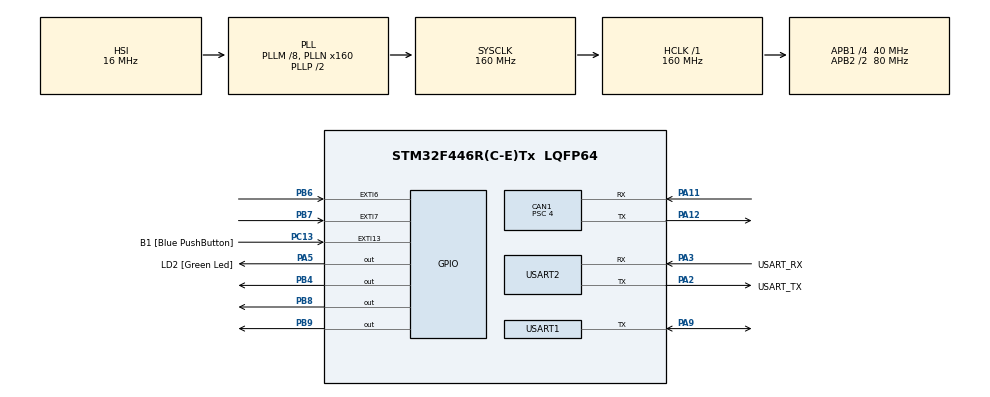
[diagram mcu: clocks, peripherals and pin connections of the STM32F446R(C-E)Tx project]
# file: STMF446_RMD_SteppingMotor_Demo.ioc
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CAN1.BS1=CAN_BS1_2TQ
CAN1.BS2=CAN_BS2_7TQ
CAN1.CalculateBaudRate=1000000
CAN1.CalculateTimeBit=1000
CAN1.CalculateTimeQuantum=100.0
CAN1.Prescaler=4
CAN1.SJW=CAN_SJW_2TQ
Mcu.Family=STM32F4
Mcu.Name=STM32F446R(C-E)Tx
Mcu.Package=LQFP64
NVIC.CAN1_RX0_IRQn=true\:0\:0\:true\:false\:true\:true\:true\:true
NVIC.CAN1_TX_IRQn=true\:0\:0\:true\:false\:true\:true\:true\:true
NVIC.EXTI15_10_IRQn=true\:1\:0\:true\:false\:true\:true\:true\:true
NVIC.EXTI9_5_IRQn=true\:1\:0\:true\:false\:true\:true\:true\:true
NVIC.PriorityGroup=NVIC_PRIORITYGROUP_4
NVIC.TIM3_IRQn=true\:2\:0\:true\:false\:true\:true\:true\:true
NVIC.USART2_IRQn=true\:0\:0\:true\:false\:true\:true\:true\:true
PA11.GPIO_Speed=GPIO_SPEED_FREQ_VERY_HIGH
PA11.Mode=CAN_Activate
PA11.Signal=CAN1_RX
PA12.GPIO_PuPd=GPIO_PULLUP
PA12.GPIO_Speed=GPIO_SPEED_FREQ_VERY_HIGH
PA12.Mode=CAN_Activate
PA12.Signal=CAN1_TX
PA13.GPIO_Label=TMS
PA13.Mode=Serial_Wire
PA13.Signal=SYS_JTMS-SWDIO
PA14.GPIO_Label=TCK
PA14.Mode=Serial_Wire
PA14.Signal=SYS_JTCK-SWCLK
PA2.GPIO_Label=USART_TX
PA2.Mode=Asynchronous
PA2.Signal=USART2_TX
PA3.GPIO_Label=USART_RX
PA3.Mode=Asynchronous
PA3.Signal=USART2_RX
PA5.GPIO_Label=LD2 [Green Led]
PA5.Signal=GPIO_Output
PA9.GPIO_Speed=GPIO_SPEED_FREQ_HIGH
PA9.Mode=Half_duplex(single_wire_mode)
PA9.Signal=USART1_TX
PB3.GPIO_Label=SWO
PB3.Signal=SYS_JTDO-SWO
PB4.Signal=GPIO_Output
PB6.GPIO_ModeDefaultEXTI=GPIO_MODE_IT_RISING_FALLING
PB6.Signal=GPXTI6
PB7.GPIO_ModeDefaultEXTI=GPIO_MODE_IT_RISING_FALLING
PB7.Signal=GPXTI7
PB8.GPIO_Speed=GPIO_SPEED_FREQ_VERY_HIGH
PB8.Signal=GPIO_Output
PB9.GPIO_Speed=GPIO_SPEED_FREQ_VERY_HIGH
PB9.Signal=GPIO_Output
PC13.GPIO_Label=B1 [Blue PushButton]
PC13.GPIO_ModeDefaultEXTI=GPIO_MODE_IT_FALLING
PC13.Signal=GPXTI13
PC14-OSC32_IN.Mode=LSE-External-Oscillator
PC14-OSC32_IN.Signal=RCC_OSC32_IN
PC15-OSC32_OUT.Mode=LSE-External-Oscillator
PC15-OSC32_OUT.Signal=RCC_OSC32_OUT
PH0-OSC_IN.Mode=HSE-External-Oscillator
PH0-OSC_IN.Signal=RCC_OSC_IN
PH1-OSC_OUT.Mode=HSE-External-Oscillator
PH1-OSC_OUT.Signal=RCC_OSC_OUT
ProjectManager.HeapSize=0x200
ProjectManager.StackSize=0x400
ProjectManager.TargetToolchain=STM32CubeIDE
RCC.48MHZClocksFreq_Value=84000000
RCC.AHBFreq_Value=160000000
RCC.APB1CLKDivider=RCC_HCLK_DIV4
RCC.APB1Freq_Value=40000000
RCC.APB1TimFreq_Value=80000000
RCC.APB2CLKDivider=RCC_HCLK_DIV2
RCC.APB2Freq_Value=80000000
RCC.APB2TimFreq_Value=160000000
RCC.CortexFreq_Value=160000000
RCC.FLatency-AdvancedSettings=FLASH_LATENCY_5
RCC.HCLKFreq_Value=160000000
RCC.HSE_VALUE=8000000
RCC.HSI_VALUE=16000000
RCC.PLLM=8
RCC.PLLN=160
RCC.SYSCLKFreq_VALUE=160000000
RCC.SYSCLKSource=RCC_SYSCLKSOURCE_PLLCLK
RCC.USBFreq_Value=160000000
RCC.VCOOutputFreq_Value=320000000
TIM3.Channel-Output\ Compare1\ No\ Output=TIM_CHANNEL_1
TIM3.Prescaler=160-1
USART1.BaudRate=500000
USART1.VirtualMode=VM_ASYNC
USART2.VirtualMode=VM_ASYNC
VP_TIM3_VS_ClockSourceINT.Mode=Internal
VP_TIM3_VS_no_output1.Mode=Output Compare1 No Output
board=NUCLEO-F446RE

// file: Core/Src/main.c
/* USER CODE BEGIN Header */
/**
  ******************************************************************************
  * @file           : main.c
  * @brief          : Main program body
  ******************************************************************************
  * @attention
  *
  * Copyright (c) 2022 STMicroelectronics.
  * All rights reserved.
  *
  * This software is licensed under terms that can be found in the LICENSE file
  * in the root directory of this software component.
  * If no LICENSE file comes with this software, it is provided AS-IS.
  *
  ******************************************************************************
  */
/* USER CODE END Header */
#include "main.h"

/* USER CODE BEGIN Includes */
#include<stdio.h>
#include "tmc/ic/TMC2209/TMC2209.h"
#include <math.h>
/* USER CODE END Includes */

/* USER CODE BEGIN PTD */
typedef struct {
	float acceleration;
	volatile unsigned int minStepInterval;
	void (*dirFunc)(int);
	void (*stepFunc)();

	uint8_t homing;
	unsigned int c0;
	volatile int stepPosition;

	volatile int dir; // 1 or -1
	volatile int dir_inv; //set 1 to reverse the dir

	volatile int pull_off; //set pull_off distance
	volatile int stall_off;

	volatile int seeking_vel;
	volatile int homing_vel;

	volatile unsigned int totalSteps;

	volatile char movementDone;
	volatile unsigned int rampUpStepCount;
	volatile unsigned int n; // index
	volatile float d; // current interval length
	volatile unsigned long di; // d -> unsigned  di
	volatile unsigned int stepCount;

}stepperInfo;   //stepperInfo型の構造体にメンバを格納

/* USER CODE END PTD */

/* USER CODE BEGIN PD */
#define TMC2209_CRC(data, length) tmc_CRC8(data, length, 1)

/* USER CODE END PD */

 CAN_HandleTypeDef hcan1;

TIM_HandleTypeDef htim3;

UART_HandleTypeDef huart1;
UART_HandleTypeDef huart2;

/* USER CODE BEGIN PV */
//SteppingMotorの設定
TMC2209TypeDef TMC2209; //TMC2209の設定などの定義
ConfigurationTypeDef TMC2209_config; //TMC2209の設定
volatile stepperInfo steppers[1];    //stepperInfo型の配列stepperにNUM_STEPPERSで定義した値を代入
uint8_t end_stop_state = 0;
uint8_t homing_flag = 0;
uint8_t current_stall = 0;
//RMDの設定
CAN_FilterTypeDef sFilterConfig;
CAN_TxHeaderTypeDef TxHeader;
CAN_RxHeaderTypeDef RxHeader;
uint8_t TxData[8];
uint8_t RxData[8];
uint32_t TxMailbox;
uint8_t cmd_data = 0x00;
uint8_t UART1_Data[8];
uint8_t get_uart_flag = 0;
uint8_t end_flag = 0; //canを受信したかどうかのflag
uint8_t nextcan_flag = 0;
int Writecom=0x00;
int Readcom=0x00;
char RMD_cmd;

/* USER CODE END PV */

void SystemClock_Config(void);
static void MX_GPIO_Init(void);
static void MX_USART2_UART_Init(void);
static void MX_CAN1_Init(void);
static void MX_TIM3_Init(void);
static void MX_USART1_UART_Init(void);
/* USER CODE BEGIN PFP */
static uint8_t reset(void);
static uint8_t restore(void);
/* USER CODE END PFP */

/* USER CODE BEGIN 0 */
void tmc2209_readWriteArray(uint8_t channel, uint8_t *data, size_t writeLength, size_t readLength)
{
	//set your uart read write
	//UART_readWrite(channelToUART(channel), data, writeLength, readLength);
	HAL_HalfDuplex_EnableTransmitter(&huart1);
	HAL_UART_Transmit(&huart1, data, writeLength,3000);

	if(readLength > 0){
		HAL_HalfDuplex_EnableReceiver(&huart1);
		HAL_UART_Receive(&huart1, data, readLength, 3000);
	}
}

uint8_t tmc2209_CRC8(uint8_t *data, size_t length)
{
	return TMC2209_CRC(data, length);
}
uint8_t uart_data;
char tx_data[]="get_data\r\n";
int flag = 1;

static uint8_t reset()
{
	//StepDir_init(STEPDIR_PRECISION);
	//StepDir_setPins(0, Pins.STEP, Pins.DIR, Pins.DIAG);

	return tmc2209_reset(&TMC2209);
}

static uint8_t restore()
{
	return tmc2209_restore(&TMC2209);
}

void TMC2209_INIT()
{
	tmc_fillCRC8Table(0x07, true, 1);

	TMC2209_config.reset = reset;
	TMC2209_config.restore = restore;
	tmc2209_init(&TMC2209, 0, 0, &TMC2209_config, &tmc2209_defaultRegisterResetState[0]);

	//restore();
}

static inline TMC2209TypeDef *motorToIC(uint8_t motor)
{
	UNUSED(motor);

	return &TMC2209;
}

void HAL_GPIO_EXTI_Callback(uint16_t GPIO_Pin)
{
	//stepper 0 end stop senssor
	if(GPIO_Pin == GPIO_PIN_6 ){
		if(!HAL_GPIO_ReadPin(GPIOB, GPIO_PIN_6)){
			end_stop_state |= 1;
		}
		if(HAL_GPIO_ReadPin(GPIOB, GPIO_PIN_6)){
			end_stop_state &= ~1;
		}
	}
	if(GPIO_Pin == GPIO_PIN_7 ){
		if(!HAL_GPIO_ReadPin(GPIOB, GPIO_PIN_7)){
			current_stall|= 0;
		}
		if(HAL_GPIO_ReadPin(GPIOB, GPIO_PIN_7)){
			current_stall = 1;
		}
	}
}
void Step0(){                                       //step pin
	//pull+

	HAL_GPIO_WritePin(GPIOB, GPIO_PIN_9, GPIO_PIN_RESET);
	HAL_GPIO_WritePin(GPIOB, GPIO_PIN_9, GPIO_PIN_SET);
	/*
	 * pull-
	 * HAL_GPIO_WritePin(GPIOB, GPIO_PIN_5, GPIO_PIN_SET);
	 * HAL_GPIO_WritePin(GPIOB, GPIO_PIN_5, GPIO_PIN_RESET);
	 */
}

void Dir0(int dir){
	HAL_GPIO_WritePin(GPIOB, GPIO_PIN_8, dir); //Dir0関数にdirピンを指定して格納
}

void resetStepperInfo(stepperInfo* si){    //resetStepperInfo関数に引数をstepperInfo構造隊にポイント型変数siとして与える
	si->n = 0;  //変数*siがメンバnにアクセス.した値に0を代入する
	si->d = 0;
	si->di = 0;
	si->stepCount = 0;
	si->rampUpStepCount = 0;
	si->totalSteps = 0;
	si->stepPosition = 0;
	si->movementDone = 0;
}

void resetStepper(volatile stepperInfo* si){    //resetStepper関数に引数をstepperInfo構造隊にポイント型変数siとして与える
	si->c0 = si->acceleration;      //変数*siがメンバc0にアクセス.した値に変数*siがメンバaccelerationにアクセス.した値を代入する
	si->d = si->c0;
	si->di = si->d;
	si->stepCount = 0;
	si->n = 0;
	si->rampUpStepCount = 0;
	si->movementDone = 0;
}

volatile uint8_t remainingSteppersFlag = 0; //remainingSteppersFlagをuint8_t型で定義し、初期化

void prepareMovement(int steps){
	if(steps == 0){
		return;
	}
	volatile stepperInfo* si = &steppers[0];
	if(si->dir_inv){
		si->dirFunc( steps < 0 ? 0 : 1);
		si->dir = steps > 0 ? -1:1;
	}else{
		si->dirFunc( steps < 0 ? 1 : 0);
		si->dir = steps > 0 ? 1:-1;
	}
		si->totalSteps = abs(steps);
		resetStepper(si);
		remainingSteppersFlag |= (1 << 0);

}

void prepareAbsoluteMovement(int absolute_steps){   //prepareAbsoluteMovementで与えられたステップ数だけモータを回す(main文から）
	printf("absolute_steps:%d\r\n",absolute_steps);
	volatile stepperInfo* si = &steppers[0];	//steppers[0]のアドレスをstepperInfo* si に代入
	int steps = absolute_steps - si->stepPosition;	//目標値からstepPositionを引いた値（stepposition=毎ステップカウントされるdirの値)
	printf("steps:%d\r\n",steps);
	if(steps == 0){
					return;
				}
	si->dirFunc( steps < 0 ? 1 : 0);
	si->dir = steps > 0 ? 1:-1;
	//printf("prepareAbsoluteMovement\r\n");
	si->totalSteps = abs(steps);	//stepsの値をアブソリュートでtotalstepsに格納
	printf("steps:%d\r\n",si->totalSteps);

	resetStepper(si);
	printf("steps:%d\r\n",steps);
	remainingSteppersFlag |= (1 << 0);
}
volatile uint8_t nextStepperFlag = 0;

void setNextInterruptInterval(){

	unsigned int mind = 999999;

		if( ((1 << 0)& remainingSteppersFlag) && steppers[0].di < mind ){
			mind = steppers[0].di;
		}
		nextStepperFlag = 0;

			if( (1 << 0) && steppers[0].di == mind ){
				nextStepperFlag |= (1 << 0);
			}

		__HAL_TIM_SET_COMPARE(&htim3, TIM_CHANNEL_1, mind);		//mindにコンペアを設定
			//printf("mind:%d \r\n",mind);

	if (remainingSteppersFlag == 0){
		__HAL_TIM_SET_COMPARE(&htim3, TIM_CHANNEL_1, 65500);    //65500→コンペアマッチさせない
	}

	__HAL_TIM_SET_COMPARE(&htim3, TIM_CHANNEL_1, mind);
	return;

}

void HAL_TIM_OC_DelayElapsedCallback(TIM_HandleTypeDef *htim){      //指定したコンペアを超えた時発火
	//HAL_TIM_OC_Stop_IT(&htim3, TIM_CHANNEL_1);
	if(htim == &htim3){
	unsigned int tmpCtr = __HAL_TIM_GET_COMPARE(&htim3, TIM_CHANNEL_1);	//指定されたタイマーチャンネルのコンペアを所得
	__HAL_TIM_SET_COMPARE(&htim3, TIM_CHANNEL_1, 65500);			//コンペアを65500にセット

	if( homing_flag & (1 << 0)){
				if(end_stop_state & (1 << 0)){
					remainingSteppersFlag &= ~(1 << 0);
				}
			}
	if ( ! (nextStepperFlag & (1 << 0)) ){				//nextStepperFlagが真でない(0なら)
			steppers[0].di -= tmpCtr;           //tmpCtrの値からsteppers[i].di引いた値を新しくsteppers[i].diに代入
		}
		//printf("steppers:%ld \r\n",steppers[0].di);

		volatile stepperInfo* s = &steppers[0];

		if( (s->stepCount) < (s->totalSteps)&& !(current_stall)  ){		//1周ごとにカウントしたstepCountがabs(steps)より小さかったら==動作が終了するまで
			s->stepFunc();
			s->stepCount++;							//カウントし続ける
			s->stepPosition += s->dir;		//dir(+もしくはー(dirの向き）を加算してstepPositionに格納
			if ( (s->stepCount) >= (s->totalSteps) ){	//stepCountがtotalStepsを超えたとき
				s->movementDone = 1;	//movementDoneを1にする
				remainingSteppersFlag &= ~(1 << 0);
			}
		}

		if (s->rampUpStepCount == 0){
			s->n++;									//sにnを代入して、nをプラス1する
			s->d = s->d - (2*s->d) / (4*s->n +1);	//加減速遅延時間
			if (s->d <= s->minStepInterval ){		//加減速遅延時間がminStepIntervalより短いなら（定数で指定）
				s->d = s->minStepInterval;			//minStepIntervalを加減速遅延時間にする
				s->rampUpStepCount = s->stepCount;	//rampUpStepCountはstepCountとする
			}
			if (s->stepCount >= (s->totalSteps / 2) ){  //目標値から現在のステップを引いた値の1/2よりstepCountが大きくなったとき
				s->rampUpStepCount = s->stepCount;		//rampUpStepCountはstepCountとする
			}
		} else if ( s->stepCount >= s->totalSteps - s->rampUpStepCount) {	//目標値から現在のステップを引いた値からrampUpStepCountを引いた値がstepCountより小さいなら
			s->d = (s->d * (4 * s->n + 1)) / (4 * s->n + 1 -2);				//減速の時のステップ
			s->n--;		//sにnを代入し、nから1を引く
		}
		s->di = s->d;	//計算結果sをstepperInfoのメンバdに代入したものをメンバdiに代入
		//printf("stepPosition:%ld \r\n",s->stepPosition);
		setNextInterruptInterval();
		__HAL_TIM_SET_COUNTER(&htim3, 0);
	}
}

void sensorStateInit(){							//割り込みリセット
	if( ! HAL_GPIO_ReadPin(GPIOA, GPIO_PIN_6)){	//割り込みピンが真でない(1でない=0なら)
		end_stop_state |= 1;					//end_stop_stateに左辺か右辺が1なら1を代入
	}
}

void stallguard_back(){
	prepareMovement(steppers[0].stall_off);	//stall_off
	current_stall=0;
	return;
}

void runAndWait(){
	setNextInterruptInterval();
	while(remainingSteppersFlag && !(current_stall));
	if(current_stall==1){
		stallguard_back();
	}
	HAL_Delay(100);
	end_flag=1;
	//printf("posi%d\r\n",re->totalSteps);
}
void AbsoluteReset(){
	volatile stepperInfo* re = &steppers[0];

	re->n = 0;  //変数*siがメンバnにアクセス.した値に0を代入する
	re->d = 0;
	re->di = 0;
	re->stepCount = 0;
	re->rampUpStepCount = 0;
	re->totalSteps = 0;
	re->stepPosition = 0;
	printf("RestOK\r\n");
	end_flag=1;
}

void stepperHoming(){
	homing_flag |= (1 << 0);
	//seeking
	steppers[0].minStepInterval = steppers[0].seeking_vel;	//ホームピンに反応するまでモータ回す
	prepareMovement( -100000000);
	runAndWait();
	HAL_Delay(500);
	//pull-off

	homing_flag &= ~(1 << 0);								//homing_flagが反応したらpull_offだけモータ回す
	prepareMovement(steppers[0].pull_off);
	runAndWait();
	HAL_Delay(500);
	//homing

	homing_flag |= (1 << 0);								//ホームピンに反応するまでモータ回す
	steppers[0].minStepInterval = steppers[0].homing_vel;
	prepareMovement( -100000000);
	runAndWait();
	HAL_Delay(500);
	//pull-off
	homing_flag &= ~(1 << 0);
	prepareMovement(steppers[0].pull_off);
	runAndWait();
	HAL_Delay(500);

	steppers[0].stepPosition = 0;
	steppers[0].homing = 1;
	steppers[0].minStepInterval = 500;
	printf("homing:\r\n");

}

void TMCsetup(){
	int32_t mstep_value = 0;
	int32_t toff_value = 0;
	int32_t microstep_value = 0;
	int32_t IRUN_value = 0;
	int32_t IHOLD_value = 0;
	int32_t IHOLDDELAY_value= 0;
	int32_t stallgard_setup_value=0;
	int32_t TCOOLTHRS_value=0;
	int32_t SEMIN_value=0;
	int32_t SEMAX_value=0;

	IRUN_value = 16;
	TMC2209_FIELD_UPDATE(&TMC2209, TMC2209_IHOLD_IRUN, TMC2209_IRUN_MASK, TMC2209_IRUN_SHIFT, IRUN_value);	//実行電流
	tmc2209_periodicJob(&TMC2209, HAL_GetTick());
	HAL_Delay(100);
	IHOLD_value=TMC2209_FIELD_READ(&TMC2209, TMC2209_IHOLD_IRUN, TMC2209_IRUN_MASK, TMC2209_IRUN_SHIFT);
	printf("IRUN: %ld\r\n", IRUN_value);

	IHOLD_value=3;																							//モーター待機時の電流の設定
	TMC2209_FIELD_UPDATE(&TMC2209,TMC2209_IHOLD_IRUN, TMC2209_IHOLD_MASK, TMC2209_IHOLD_SHIFT, IHOLD_value);
	tmc2209_periodicJob(&TMC2209, HAL_GetTick());
	HAL_Delay(100);
	IHOLD_value=TMC2209_FIELD_READ(&TMC2209, TMC2209_IHOLD_IRUN, TMC2209_IHOLD_MASK, TMC2209_IHOLD_SHIFT);	//保持電流
	printf("IHOLD: %ld\r\n", IHOLD_value);

	mstep_value = TMC2209_FIELD_READ(&TMC2209, TMC2209_GCONF, TMC2209_MSTEP_REG_SELECT_MASK,TMC2209_MSTEP_REG_SELECT_SHIFT);	//uartでのmicrostepの有効化
	printf("mstep_before : %ld\r\n", mstep_value);
	mstep_value = 1;
	TMC2209_FIELD_UPDATE(&TMC2209, TMC2209_GCONF, TMC2209_MSTEP_REG_SELECT_MASK, TMC2209_MSTEP_REG_SELECT_SHIFT,mstep_value);
	tmc2209_periodicJob(&TMC2209, HAL_GetTick());
	mstep_value=TMC2209_FIELD_READ(&TMC2209, TMC2209_GCONF, TMC2209_MSTEP_REG_SELECT_MASK, TMC2209_MSTEP_REG_SELECT_SHIFT);
	printf("mstep_after : %ld\r\n", mstep_value);

	toff_value=TMC2209_FIELD_READ(&TMC2209, TMC2209_CHOPCONF, TMC2209_TOFF_MASK, TMC2209_TOFF_SHIFT);	//保持トルクの設定
	printf("toff_before : %ld\r\n", toff_value);
	toff_value = 4;
	TMC2209_FIELD_UPDATE(&TMC2209, TMC2209_CHOPCONF, TMC2209_TOFF_MASK, TMC2209_TOFF_SHIFT,toff_value);
	tmc2209_periodicJob(&TMC2209, HAL_GetTick());
	toff_value=TMC2209_FIELD_READ(&TMC2209, TMC2209_CHOPCONF, TMC2209_TOFF_MASK, TMC2209_TOFF_SHIFT);
	printf("toff_after : %ld\r\n", toff_value);

	microstep_value = 256 >> TMC2209_FIELD_READ(&TMC2209, TMC2209_CHOPCONF, TMC2209_MRES_MASK, TMC2209_MRES_SHIFT);	//microstepの設定
	printf("microstep_before : %ld\r\n", microstep_value);
	microstep_value = 4;
	TMC2209_FIELD_UPDATE(&TMC2209, TMC2209_CHOPCONF, TMC2209_MRES_MASK, TMC2209_MRES_SHIFT,microstep_value);
	tmc2209_periodicJob(&TMC2209, HAL_GetTick());
	microstep_value = 256 >> TMC2209_FIELD_READ(&TMC2209, TMC2209_CHOPCONF, TMC2209_MRES_MASK, TMC2209_MRES_SHIFT);
	printf("microstep_after : %ld\r\n", microstep_value);

	IHOLDDELAY_value=4;
	TMC2209_FIELD_UPDATE(&TMC2209, TMC2209_IHOLD_IRUN, TMC2209_IHOLDDELAY_MASK, TMC2209_IHOLDDELAY_SHIFT, IHOLDDELAY_value);
	tmc2209_periodicJob(&TMC2209, HAL_GetTick());
	IHOLDDELAY_value=TMC2209_FIELD_READ(&TMC2209, TMC2209_IHOLD_IRUN, TMC2209_IHOLDDELAY_MASK, TMC2209_IHOLDDELAY_SHIFT);
	printf("IHOLDDELAY: %ld\r\n", IHOLDDELAY_value);

	stallgard_setup_value=20;											//SG_RESULTと比較して、
	tmc2209_writeInt(&TMC2209, TMC2209_SGTHRS, stallgard_setup_value);
	tmc2209_periodicJob(&TMC2209, HAL_GetTick());
	stallgard_setup_value = tmc2209_readInt(&TMC2209, TMC2209_SGTHRS);
	printf("SGTHRS: %ld\r\n", stallgard_setup_value);

	TCOOLTHRS_value=1000;

	tmc2209_writeInt(&TMC2209, TMC2209_TCOOLTHRS, TCOOLTHRS_value);
	tmc2209_periodicJob(&TMC2209, HAL_GetTick());
	printf("TCOOLTHRS: %ld\r\n", TCOOLTHRS_value);

	SEMIN_value=5;
	TMC2209_FIELD_UPDATE(&TMC2209, TMC2209_COOLCONF, TMC2209_SEIMIN_MASK, TMC2209_SEIMIN_SHIFT, SEMIN_value);
	tmc2209_periodicJob(&TMC2209, HAL_GetTick());
	printf("SEMIN: %ld\r\n", SEMIN_value);

	SEMAX_value = 2;
	TMC2209_FIELD_UPDATE(&TMC2209, TMC2209_COOLCONF, TMC2209_SEIMIN_MASK, TMC2209_SEIMIN_SHIFT, SEMIN_value);
	tmc2209_periodicJob(&TMC2209, HAL_GetTick());
	printf("SEMAX: %ld\r\n", SEMAX_value);

	end_flag=1;

}

void RMDCommand(){
//	int i = 0;
	int count=0;
	TxHeader.StdId=0x141;
	TxHeader.IDE = CAN_ID_STD;
	TxHeader.DLC = 0x08;
	TxHeader.RTR = CAN_RTR_DATA;
	TxHeader.TransmitGlobalTime = DISABLE;
	TxData[1] = 0x00;
	TxData[2] = 0x00;
	TxData[3] = 0x00;
	TxData[4] = 0x00;
	TxData[5] = 0x00;
	TxData[6] = 0x00;
	TxData[7] = 0x00;
	switch(Writecom){
		case 0x31:
			TxData[0] = 0x31;	//PI設定
			TxData[2] = UART1_Data[2];	//anglePidKp
			TxData[3] = UART1_Data[3];	//anglePidKi
			TxData[4] = UART1_Data[4];	//speedPidKp
			TxData[5] = UART1_Data[5];	//speedPidKi
			TxData[6] = UART1_Data[6];	//iqPidKp
			TxData[7] = UART1_Data[7];	//iqPidKi
		case 0x32:
			TxData[0] = 0x32;	//PI設定
			TxData[2] = UART1_Data[2];	//anglePidKp
			TxData[3] = UART1_Data[3];	//anglePidKi
			TxData[4] = UART1_Data[4];	//speedPidKp
			TxData[5] = UART1_Data[5];	//speedPidKi
			TxData[6] = UART1_Data[6];	//iqPidKp
			TxData[7] = UART1_Data[7];	//iqPidKi
			break;
		case 0x34:
			TxData[0] = 0x34;	//accelePI設定
			TxData[4] = UART1_Data[4];	//speedI
			TxData[5] = UART1_Data[5];	//TorqueP
			TxData[6] = UART1_Data[6];	//TorqueI
			TxData[7] = UART1_Data[7];	//PosI
			break;
		case 0xA1:
			TxData[0] = 0xA1;	//Torque設定
			TxData[4] = UART1_Data[4];	//currentlow
			TxData[5] = UART1_Data[5];	//currenthigh
			break;
		case 0xA4:
			TxData[0] = 0xA4;
			TxData[1] = 0x00;
			TxData[2] = 0x2C;	//speed low
			TxData[3] = 0x01;	//speed high
			TxData[4] = UART1_Data[4];	//poslow
			TxData[5] = UART1_Data[5];
			TxData[6] = 0x00;
			TxData[7] = 0x00;	//poshigh
			break;
		default:
			printf("No Data Writecom\r\n");
			end_flag=1;
			break;
		}
	Writecom=0x00;
	switch(Readcom){
		case 0x30:
			TxData[0] = 0x30;
			break;
		case 0x33:
			TxData[0] = 0x33;
			break;
		case 0x9C:
			TxData[0] = 0x9C;
			break;
		case 0xA1:
			TxData[0] = 0xA1;
		case 0x90:
			TxData[0] = 0x90;
			break;
		default:
			printf("No Data Readcom\r\n");
			end_flag=1;
			break;
	}
	Readcom=0x00;
	if(0 < HAL_CAN_GetTxMailboxesFreeLevel(&hcan1) ){
		HAL_CAN_AddTxMessage(&hcan1,&TxHeader,TxData,&TxMailbox);
		HAL_Delay(1);
//		printf("Can Send\r\n");
		while(!nextcan_flag){
//			printf("Mailboxes: %d\r\n",HAL_CAN_GetTxMailboxesFreeLevel(&hcan1));
			HAL_CAN_AddTxMessage(&hcan1,&TxHeader,TxData,&TxMailbox);
			HAL_Delay(1);
			count++;
			if(count==10){
				nextcan_flag=1;
				HAL_CAN_Stop (&hcan1);
				//HAL_CAN_AbortTxRequest(&hcan1,TxMailbox);
				HAL_CAN_Start(&hcan1);
				printf("CAN RESET\r\n");
			}
		}
		nextcan_flag=0;
		count=0;
	}else{
		printf("Mailbox_congestion\r\n");
		nextcan_flag=0;
		end_flag=1;
	}
}
void SetUpRMD(){
	UART1_Data[4] = 0x50;
	UART1_Data[5] = 0x46;
	Writecom = 0xA4;
	RMDCommand();
}
void RMDLeftTurn(){
	UART1_Data[4] = 0xE0;
	UART1_Data[5] = 0x2E;
	Writecom=0xA4;
	RMDCommand();
}
void RMDRightTurn(){
	UART1_Data[4] = 0xC0;
	UART1_Data[5] = 0x5D;
	Writecom=0xA4;
	RMDCommand();
}
void checkRMDdata(){
	int RxBitshift[4];
	RxBitshift[0]=0;
	RxBitshift[1]=0;
	RxBitshift[2]=0;
	RxBitshift[3]=0;
	Readcom=0x30;
	RMDCommand();
	printf("0x30\r\n");
	printf("Position loop Kp :%d \r\n",RxData[2]);
	printf("Position loop Ki :%d \r\n",RxData[3]);
	printf("Speed loop Kp :%d \r\n",RxData[4]);
	printf("Speed loop Ki :%d \r\n",RxData[5]);
	printf("Torque loop Kp :%d \r\n",RxData[6]);
	printf("Torque loop Ki :%d \r\n",RxData[7]);

	Readcom=0x33;
	RMDCommand();
	printf("0x33\r\n");
	printf("Position loop P:%d \r\n",RxData[2]);
	printf("Position loop I :%d \r\n",RxData[3]);
	printf("Speed loop P :%d \r\n",RxData[4]);
	printf("Speed loop I :%d \r\n",RxData[5]);
	printf("Torque loop P :%d \r\n",RxData[6]);
	printf("Torque loop I :%d \r\n",RxData[7]);

	Readcom=0x9C;
	RMDCommand();
	printf("0x9C\r\n");
	RxBitshift[0]=RxData[2] & 0xFF;
	RxBitshift[0]+=(RxData[3] & 0xFF) << 8;
	RxBitshift[1]=RxData[4] & 0xFF;
	RxBitshift[1]+=(RxData[5] & 0xFF) << 8;
	RxBitshift[2]=RxData[6] & 0xFF;
	RxBitshift[2]+=(RxData[7] & 0xFF) << 8;
	printf("Motor temperature:%d \r\n",RxData[1]);
	printf("Torque current :%d \r\n",RxBitshift[0]);
	printf("Speed :%d \r\n",RxBitshift[1]);
	printf("Encoder position:%d \r\n",RxBitshift[2]);
}
void RMDPIDSetting(){
	UART1_Data[2] = 0x64;
	UART1_Data[3] = 0x64;
	UART1_Data[4] = 0x28;
	UART1_Data[5] = 0xE;
	UART1_Data[6] = 0x14;
	UART1_Data[7] = 0x14;
	Writecom=0x31;
	RMDCommand();
}

void UART1_InIt(){
	UART1_Data[0] = 0x00;
	UART1_Data[1] = 0x00;
	UART1_Data[2] = 0x00;
	UART1_Data[3] = 0x00;
	UART1_Data[4] = 0x00;
	UART1_Data[5] = 0x00;
	UART1_Data[6] = 0x00;
	UART1_Data[7] = 0x00;
}

/* USER CODE END 0 */

int main(void)
{
  /* USER CODE BEGIN 1 */
	setbuf(stdout, NULL);
  /* USER CODE END 1 */

  /* MCU Configuration--------------------------------------------------------*/

  /* Reset of all peripherals, Initializes the Flash interface and the Systick. */
  HAL_Init();

  /* Configure the system clock */
  SystemClock_Config();

  /* Initialize all configured peripherals */
  MX_GPIO_Init();
  MX_USART2_UART_Init();
  MX_CAN1_Init();
  MX_TIM3_Init();
  MX_USART1_UART_Init();
  /* USER CODE BEGIN 2 */
  TMC2209_INIT();
  //rxbufを受信したらフラグを
  HAL_TIM_OC_Start_IT(&htim3, TIM_CHANNEL_1);
  printf("Hello\r\n");
  steppers[0].dirFunc = Dir0;
  steppers[0].stepFunc = Step0;
  steppers[0].acceleration = 1000;
  steppers[0].minStepInterval = 100;
  steppers[0].homing = 0;
  steppers[0].dir_inv = 1;
  steppers[0].seeking_vel = 100;
  steppers[0].homing_vel = 200;
  steppers[0].pull_off = 500;
  steppers[0].stall_off=10000;
  get_uart_flag=0;

sFilterConfig.FilterBank = 0;
sFilterConfig.FilterMode = CAN_FILTERMODE_IDMASK;
sFilterConfig.FilterScale = CAN_FILTERSCALE_32BIT;
sFilterConfig.FilterIdHigh = 0x0000;
sFilterConfig.FilterIdLow = 0x0000;
sFilterConfig.FilterMaskIdHigh = 0x0000;
sFilterConfig.FilterMaskIdLow = 0x0000;
sFilterConfig.FilterFIFOAssignment = CAN_RX_FIFO0;
//	sFilterConfig.FilterFIFOAssignment =CAN_FILTER_FIFO0;
sFilterConfig.FilterActivation=ENABLE;
sFilterConfig.SlaveStartFilterBank=14;

if(HAL_CAN_ConfigFilter(&hcan1,&sFilterConfig) != HAL_OK)
{
	Error_Handler();
}
if(HAL_CAN_Start(&hcan1)!=HAL_OK)
{
	Error_Handler();
}

if(HAL_CAN_ActivateNotification(&hcan1,CAN_IT_RX_FIFO0_MSG_PENDING | CAN_IT_TX_MAILBOX_EMPTY) != HAL_OK)
{
	Error_Handler();
}

char KeyCommand[1];
KeyCommand[0]=0;
printf("RMD Start\r\n");
  /* USER CODE END 2 */

  /* Infinite loop */
  /* USER CODE BEGIN WHILE */
  while (1)
  {
	  //受信割り込みの開始=6byte受け取ったら次の処理へ
		  get_uart_flag=0;
//		  int i=0;
		  HAL_UART_Receive_IT(&huart2, (uint8_t *)KeyCommand, 1);
	//	  printf("Key %d\r\n",KeyChange);
		  HAL_UART_Transmit(&huart2, (uint8_t *)KeyCommand, 1,300);
		  //受信するまで待つ
		  while(!get_uart_flag){}
		  UART1_InIt();
		  end_flag=0;
	  	   //canデータ受信用のフラグを0に
	//	  printf("beforecase\r\n");
			  if(KeyCommand[0]!=0 ){
				  switch(KeyCommand[0]){
				  case '0':
					  SetUpRMD();
					  KeyCommand[0]=0;
					  break;
				  case'1':
					  RMDLeftTurn();
					  KeyCommand[0]=0;
					  break;
				  case'2':
					  RMDRightTurn();
					  KeyCommand[0]=0;
					  break;
				  case'3':
					  checkRMDdata();
					  KeyCommand[0]=0;
					  break;
				  case'9':
					  RMDPIDSetting();
					  KeyCommand[0]=0;
					  break;
				  case 's':
					  TMCsetup();
					  KeyCommand[0]=0;
					  break;
				  case 'a':
					  //HAL_UART_Transmit_IT(&huart2,(uint8_t *)front, sizeof(front));
					  printf("1:start\r\n");
					  prepareAbsoluteMovement(20000);
					  runAndWait();
					  HAL_Delay(100);
					  printf("1:end\r\n");
					  KeyCommand[0]=0;
					  break;

				  case 'd':
					  printf("1:start\r\n");
					  prepareAbsoluteMovement(-5000);
					  runAndWait();
					  HAL_Delay(100);
					  printf("1:end\r\n");
					  KeyCommand[0]=0;
					  break;

				  case 'h':
					  stepperHoming();
					  runAndWait();
					  HAL_Delay(100);
					  KeyCommand[0]=0;

				  case 'q':
					  AbsoluteReset();
					  KeyCommand[0]=0;
				  default:
					  printf("NoCommand\r\n");
					  KeyCommand[0]=0;
					  end_flag=1;
					  break;
				  }
				  while(!end_flag){}
			  }

//			  HAL_CAN_AddTxMessage(&hcan1,&TxHeader,TxData,&TxMailbox);
//			  printf("Command : 0x%x\r\n",TxData[0]);
//			  for(i=0;i < 8;i++){
//				  printf("DATA[%d]",i);
//				  printf("0x%x\r\n",TxData[i]);
//			  }

//	  if(KeyCommand[2]=='2'){
//	  	  		  printf("2\r\n");
//	  	  	  }
//	  if(KeyCommand[3]=='3'){
//	  	  	  		  printf("3\r\n");
//	  	  	  	  }
//	  else{
//		  printf("Nocomand\r\n");
//	  }
//	  scanf("%s",&KeyCommand);
//	  printf("%s",KeyCommand);

//	  RMDCommand();

	 // printf("UARTdata:%s\r\n",KeyCommand[0]);

//	  if(end_flag)
//	  HAL_CAN_AddTxMessage(&hcan1,&TxHeader,TxData,&TxMailbox);
//	  HAL_Delay(100);
    /* USER CODE END WHILE */

  }
}

void SystemClock_Config(void)
{
  RCC_OscInitTypeDef RCC_OscInitStruct = {0};
  RCC_ClkInitTypeDef RCC_ClkInitStruct = {0};

  /** Configure the main internal regulator output voltage
  */
  __HAL_RCC_PWR_CLK_ENABLE();
  __HAL_PWR_VOLTAGESCALING_CONFIG(PWR_REGULATOR_VOLTAGE_SCALE1);

  /** Initializes the RCC Oscillators according to the specified parameters
  * in the RCC_OscInitTypeDef structure.
  */
  RCC_OscInitStruct.OscillatorType = RCC_OSCILLATORTYPE_HSI;
  RCC_OscInitStruct.HSIState = RCC_HSI_ON;
  RCC_OscInitStruct.HSICalibrationValue = RCC_HSICALIBRATION_DEFAULT;
  RCC_OscInitStruct.PLL.PLLState = RCC_PLL_ON;
  RCC_OscInitStruct.PLL.PLLSource = RCC_PLLSOURCE_HSI;
  RCC_OscInitStruct.PLL.PLLM = 8;
  RCC_OscInitStruct.PLL.PLLN = 160;
  RCC_OscInitStruct.PLL.PLLP = RCC_PLLP_DIV2;
  RCC_OscInitStruct.PLL.PLLQ = 2;
  RCC_OscInitStruct.PLL.PLLR = 2;
  if (HAL_RCC_OscConfig(&RCC_OscInitStruct) != HAL_OK)
  {
    Error_Handler();
  }

  /** Initializes the CPU, AHB and APB buses clocks
  */
  RCC_ClkInitStruct.ClockType = RCC_CLOCKTYPE_HCLK|RCC_CLOCKTYPE_SYSCLK
                              |RCC_CLOCKTYPE_PCLK1|RCC_CLOCKTYPE_PCLK2;
  RCC_ClkInitStruct.SYSCLKSource = RCC_SYSCLKSOURCE_PLLCLK;
  RCC_ClkInitStruct.AHBCLKDivider = RCC_SYSCLK_DIV1;
  RCC_ClkInitStruct.APB1CLKDivider = RCC_HCLK_DIV4;
  RCC_ClkInitStruct.APB2CLKDivider = RCC_HCLK_DIV2;

  if (HAL_RCC_ClockConfig(&RCC_ClkInitStruct, FLASH_LATENCY_5) != HAL_OK)
  {
    Error_Handler();
  }
}

static void MX_CAN1_Init(void)
{

  hcan1.Instance = CAN1;
  hcan1.Init.Prescaler = 4;
  hcan1.Init.Mode = CAN_MODE_NORMAL;
  hcan1.Init.SyncJumpWidth = CAN_SJW_2TQ;
  hcan1.Init.TimeSeg1 = CAN_BS1_2TQ;
  hcan1.Init.TimeSeg2 = CAN_BS2_7TQ;
  hcan1.Init.TimeTriggeredMode = DISABLE;
  hcan1.Init.AutoBusOff = DISABLE;
  hcan1.Init.AutoWakeUp = DISABLE;
  hcan1.Init.AutoRetransmission = DISABLE;
  hcan1.Init.ReceiveFifoLocked = DISABLE;
  hcan1.Init.TransmitFifoPriority = DISABLE;
  if (HAL_CAN_Init(&hcan1) != HAL_OK)
  {
    Error_Handler();
  }

}

static void MX_TIM3_Init(void)
{

  TIM_ClockConfigTypeDef sClockSourceConfig = {0};
  TIM_MasterConfigTypeDef sMasterConfig = {0};
  TIM_OC_InitTypeDef sConfigOC = {0};

  htim3.Instance = TIM3;
  htim3.Init.Prescaler = 160-1;
  htim3.Init.CounterMode = TIM_COUNTERMODE_UP;
  htim3.Init.Period = 65535;
  htim3.Init.ClockDivision = TIM_CLOCKDIVISION_DIV1;
  htim3.Init.AutoReloadPreload = TIM_AUTORELOAD_PRELOAD_DISABLE;
  if (HAL_TIM_Base_Init(&htim3) != HAL_OK)
  {
    Error_Handler();
  }
  sClockSourceConfig.ClockSource = TIM_CLOCKSOURCE_INTERNAL;
  if (HAL_TIM_ConfigClockSource(&htim3, &sClockSourceConfig) != HAL_OK)
  {
    Error_Handler();
  }
  if (HAL_TIM_OC_Init(&htim3) != HAL_OK)
  {
    Error_Handler();
  }
  sMasterConfig.MasterOutputTrigger = TIM_TRGO_RESET;
  sMasterConfig.MasterSlaveMode = TIM_MASTERSLAVEMODE_DISABLE;
  if (HAL_TIMEx_MasterConfigSynchronization(&htim3, &sMasterConfig) != HAL_OK)
  {
    Error_Handler();
  }
  sConfigOC.OCMode = TIM_OCMODE_TIMING;
  sConfigOC.Pulse = 0;
  sConfigOC.OCPolarity = TIM_OCPOLARITY_HIGH;
  sConfigOC.OCFastMode = TIM_OCFAST_DISABLE;
  if (HAL_TIM_OC_ConfigChannel(&htim3, &sConfigOC, TIM_CHANNEL_1) != HAL_OK)
  {
    Error_Handler();
  }

}

static void MX_USART1_UART_Init(void)
{

  huart1.Instance = USART1;
  huart1.Init.BaudRate = 500000;
  huart1.Init.WordLength = UART_WORDLENGTH_8B;
  huart1.Init.StopBits = UART_STOPBITS_1;
  huart1.Init.Parity = UART_PARITY_NONE;
  huart1.Init.Mode = UART_MODE_TX_RX;
  huart1.Init.HwFlowCtl = UART_HWCONTROL_NONE;
  huart1.Init.OverSampling = UART_OVERSAMPLING_16;
  if (HAL_HalfDuplex_Init(&huart1) != HAL_OK)
  {
    Error_Handler();
  }

}

static void MX_USART2_UART_Init(void)
{

  huart2.Instance = USART2;
  huart2.Init.BaudRate = 115200;
  huart2.Init.WordLength = UART_WORDLENGTH_8B;
  huart2.Init.StopBits = UART_STOPBITS_1;
  huart2.Init.Parity = UART_PARITY_NONE;
  huart2.Init.Mode = UART_MODE_TX_RX;
  huart2.Init.HwFlowCtl = UART_HWCONTROL_NONE;
  huart2.Init.OverSampling = UART_OVERSAMPLING_16;
  if (HAL_UART_Init(&huart2) != HAL_OK)
  {
    Error_Handler();
  }

}

static void MX_GPIO_Init(void)
{
  GPIO_InitTypeDef GPIO_InitStruct = {0};

  /* GPIO Ports Clock Enable */
  __HAL_RCC_GPIOC_CLK_ENABLE();
  __HAL_RCC_GPIOH_CLK_ENABLE();
  __HAL_RCC_GPIOA_CLK_ENABLE();
  __HAL_RCC_GPIOB_CLK_ENABLE();

  /*Configure GPIO pin Output Level */
  HAL_GPIO_WritePin(LD2_GPIO_Port, LD2_Pin, GPIO_PIN_RESET);

  /*Configure GPIO pin Output Level */
  HAL_GPIO_WritePin(GPIOB, GPIO_PIN_4|GPIO_PIN_8|GPIO_PIN_9, GPIO_PIN_RESET);

  /*Configure GPIO pin : B1_Pin */
  GPIO_InitStruct.Pin = B1_Pin;
  GPIO_InitStruct.Mode = GPIO_MODE_IT_FALLING;
  GPIO_InitStruct.Pull = GPIO_NOPULL;
  HAL_GPIO_Init(B1_GPIO_Port, &GPIO_InitStruct);

  /*Configure GPIO pin : LD2_Pin */
  GPIO_InitStruct.Pin = LD2_Pin;
  GPIO_InitStruct.Mode = GPIO_MODE_OUTPUT_PP;
  GPIO_InitStruct.Pull = GPIO_NOPULL;
  GPIO_InitStruct.Speed = GPIO_SPEED_FREQ_LOW;
  HAL_GPIO_Init(LD2_GPIO_Port, &GPIO_InitStruct);

  /*Configure GPIO pin : PB4 */
  GPIO_InitStruct.Pin = GPIO_PIN_4;
  GPIO_InitStruct.Mode = GPIO_MODE_OUTPUT_PP;
  GPIO_InitStruct.Pull = GPIO_NOPULL;
  GPIO_InitStruct.Speed = GPIO_SPEED_FREQ_LOW;
  HAL_GPIO_Init(GPIOB, &GPIO_InitStruct);

  /*Configure GPIO pins : PB6 PB7 */
  GPIO_InitStruct.Pin = GPIO_PIN_6|GPIO_PIN_7;
  GPIO_InitStruct.Mode = GPIO_MODE_IT_RISING_FALLING;
  GPIO_InitStruct.Pull = GPIO_NOPULL;
  HAL_GPIO_Init(GPIOB, &GPIO_InitStruct);

  /*Configure GPIO pins : PB8 PB9 */
  GPIO_InitStruct.Pin = GPIO_PIN_8|GPIO_PIN_9;
  GPIO_InitStruct.Mode = GPIO_MODE_OUTPUT_PP;
  GPIO_InitStruct.Pull = GPIO_NOPULL;
  GPIO_InitStruct.Speed = GPIO_SPEED_FREQ_VERY_HIGH;
  HAL_GPIO_Init(GPIOB, &GPIO_InitStruct);

  /* EXTI interrupt init*/
  HAL_NVIC_SetPriority(EXTI9_5_IRQn, 1, 0);
  HAL_NVIC_EnableIRQ(EXTI9_5_IRQn);

  HAL_NVIC_SetPriority(EXTI15_10_IRQn, 1, 0);
  HAL_NVIC_EnableIRQ(EXTI15_10_IRQn);

}

/* USER CODE BEGIN 4 */
int _write(int file, char *ptr, int len)	//printfに必要
{
  HAL_UART_Transmit(&huart2,(uint8_t *)ptr,len,10);
  return len;
}
void HAL_UART_RxCpltCallback(UART_HandleTypeDef *huart)
{
	get_uart_flag = 1;
	printf("uart_timer\r\n");

}
void HAL_CAN_TxMailbox0CompleteCallback(CAN_HandleTypeDef *hcan)
{
//	  HAL_GPIO_WritePin(GPIOA,GPIO_PIN_5,1);
	  printf("TxCan\r\n");
	  nextcan_flag=1;

}

void HAL_CAN_RxFifo0MsgPendingCallback(CAN_HandleTypeDef *hcan_)
{
	printf("RxCan\r\n");
	HAL_CAN_GetRxMessage(&hcan1,CAN_RX_FIFO0, &RxHeader,RxData);
	HAL_UART_Transmit(&huart2,RxData,sizeof(RxData),100);//受け取ったデータを送信

	//printf("\r\n");
	end_flag=1;

//HAL_UART_Transmit(&huart2,&RxHeader,4);
//  HAL_UART_Transmit(&huart2,RxData,1,3000);
//  flag *= -1;
//  if(flag >0){
//	  HAL_GPIO_WritePin(GPIOA,GPIO_PIN_5,1);
//  }else{
//	  HAL_GPIO_WritePin(GPIOA,GPIO_PIN_5,0);
//  }
}

/* USER CODE END 4 */

void Error_Handler(void)
{
  __disable_irq();
  while (1)
  {
  }
}
